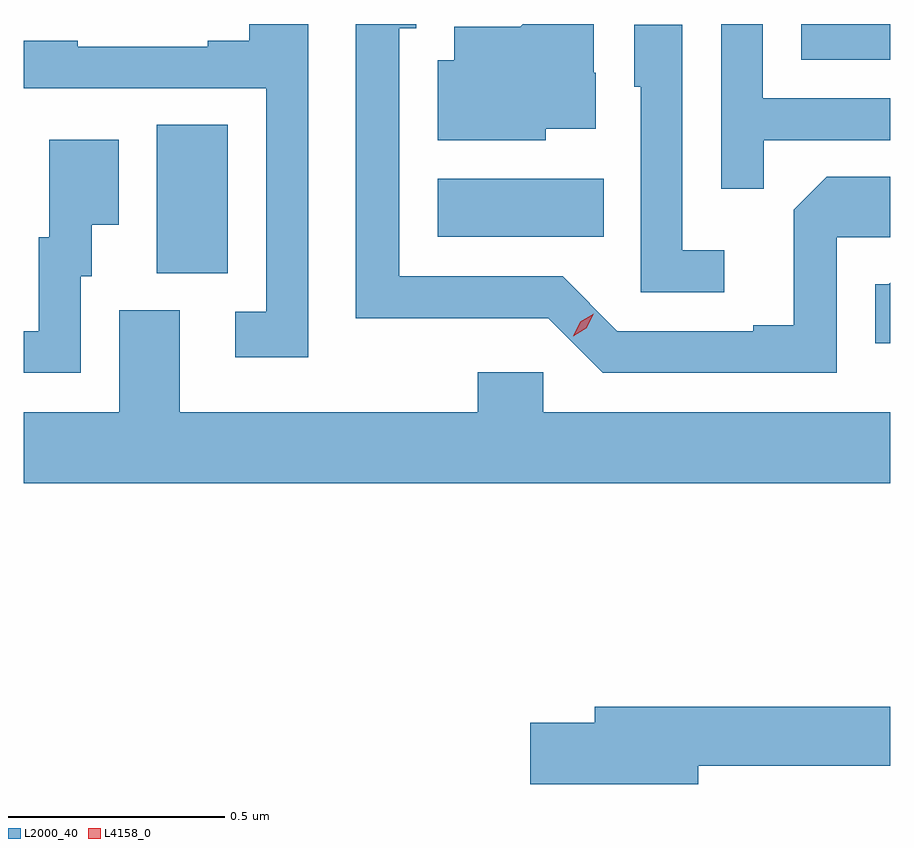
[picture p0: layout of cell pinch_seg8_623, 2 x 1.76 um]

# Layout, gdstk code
import gdstk
lib = gdstk.Library(unit=1e-6, precision=1e-09)
def R(c, l, rs):  # rectangles x0, y0, x1, y1
    for r in rs: c.add(gdstk.rectangle(r[:2], r[2:], *l))
def P(c, l, *ps):  # polygons
    for p in ps: c.add(gdstk.Polygon(p, *l))
L2000_40 = (2000, 40)
L4158_0 = (4158, 0)

pinch_seg8_623 = lib.new_cell('pinch_seg8_623')
R(pinch_seg8_623, L2000_40, [(170.468,1099.669,170.632,1100.012), (171.116,1099.754,171.5,1099.888), (171.956,1100.162,172.161,1100.245)])
P(pinch_seg8_623, L2000_40, [(171.366,1100.003),(171.481,1100.003),(171.481,1100.132),(171.477,1100.132),(171.477,1100.245),(171.313,1100.245),(171.307,1100.239),(171.155,1100.239),(171.155,1100.161),(171.116,1100.161),(171.116,1099.976),(171.366,1099.976)],
  [(171.869,1099.977),(172.161,1099.977),(172.161,1100.073),(171.867,1100.073),(171.867,1100.245),(171.771,1100.245),(171.771,1099.864),(171.869,1099.864)],
  [(170.817,1100.245),(170.681,1100.245),(170.681,1100.206),(170.585,1100.206),(170.585,1100.193),(170.285,1100.193),(170.285,1100.206),(170.161,1100.206),(170.161,1100.097),(170.721,1100.097),(170.721,1099.581),(170.649,1099.581),(170.649,1099.476),(170.817,1099.476)],
  [(172.038,1099.752),(172.161,1099.752),(172.161,1099.892),(172.015,1099.892),(171.939,1099.816),(171.939,1099.549),(171.845,1099.549),(171.845,1099.536),(171.531,1099.536),(171.405,1099.662),(171.028,1099.662),(171.028,1100.235),(171.067,1100.235),(171.067,1100.245),(170.927,1100.245),(170.927,1099.565),(171.15,1099.565),(171.15,1099.566),(171.372,1099.566),(171.498,1099.44),(172.038,1099.44)],
  [(171.778,1099.723),(171.681,1099.723),(171.681,1100.243),(171.57,1100.243),(171.57,1100.1),(171.585,1100.1),(171.585,1099.626),(171.778,1099.626)],
  [(170.292,1099.662),(170.317,1099.662),(170.317,1099.781),(170.38,1099.781),(170.38,1099.978),(170.219,1099.978),(170.219,1099.752),(170.195,1099.752),(170.195,1099.536),(170.161,1099.536),(170.161,1099.44),(170.292,1099.44)],
  [(172.161,1099.647),(172.158,1099.644),(172.127,1099.644),(172.127,1099.508),(172.161,1099.508)],
  [(172.161,1099.348),(171.36,1099.348),(171.36,1099.441),(171.209,1099.441),(171.209,1099.348),(170.521,1099.348),(170.521,1099.584),(170.381,1099.584),(170.381,1099.348),(170.161,1099.348),(170.161,1099.184),(172.161,1099.184)],
  [(171.718,1098.532),(172.161,1098.532),(172.161,1098.668),(171.479,1098.668),(171.479,1098.632),(171.33,1098.632),(171.33,1098.49),(171.718,1098.49)])
P(pinch_seg8_623, L4158_0, [(171.429,1099.524),(171.429,1099.524),(171.446,1099.557),(171.477,1099.576),(171.477,1099.576),(171.477,1099.576),(171.46,1099.543),(171.429,1099.524)])

lib.write_gds('pinch_seg8_623.gds')
